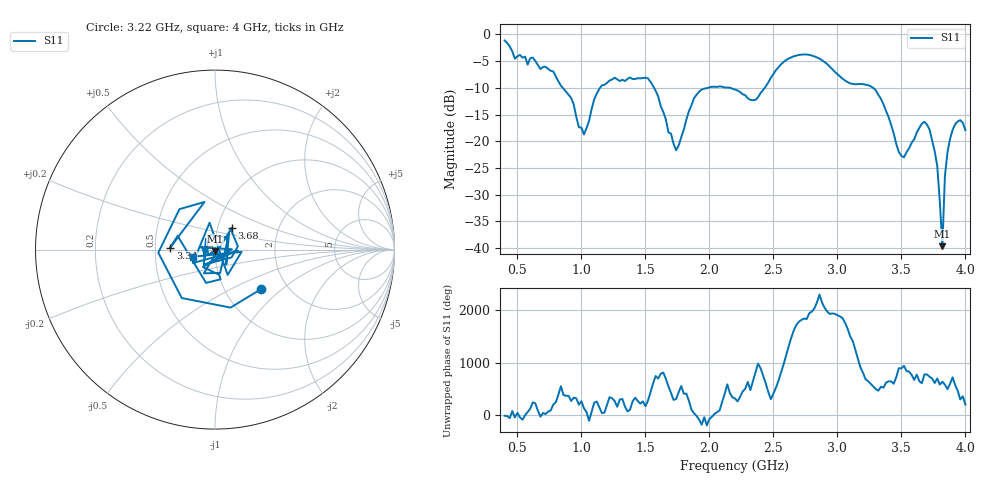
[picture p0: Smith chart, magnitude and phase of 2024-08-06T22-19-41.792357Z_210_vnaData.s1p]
!Created with skrf (http://scikit-rf.org).
# Hz S RI R 50.0
!freq ReS11 ImS11
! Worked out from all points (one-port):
!   181 points, 400 MHz to 4 GHz, reference 50 ohm
!   lowest |S11| = -39.7 dB at 3.82 GHz (marker M1), VSWR 1.02, Z = 50 - j1.04 ohm
!   |S11| at or under -10 dB: 854.4 MHz to 1.146 GHz (291.4 MHz wide, 29.1 % of centre); 1.568 GHz to 1.988 GHz (420.6 MHz wide, 23.7 % of centre); 3.28 GHz to end of sweep (the widest 3 of 4)
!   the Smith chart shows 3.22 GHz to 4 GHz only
!   S11 on the Smith chart (normalised r, x): 3.22 GHz: 1.48, -0.73; 3.34 GHz: 0.60, +0.01; 3.68 GHz: 1.17, +0.29; 4 GHz: 0.78, -0.06
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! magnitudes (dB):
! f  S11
! 400 MHz  -1.1
! 480 MHz  -4.5
! 620 MHz  -4.3
! 860 MHz  -10.2
! 1.02 GHz  -18.7
! 1.14 GHz  -10.2
! 1.3 GHz  -8.7
! 1.52 GHz  -8.2
! 1.74 GHz  -21.7
! 1.76 GHz  -20.8
! 1.92 GHz  -10.7
! 2.2 GHz  -10.3
! 2.36 GHz  -12.3
! 2.66 GHz  -4.1
! 2.86 GHz  -4.5
! 3.1 GHz  -9.2
! 3.22 GHz  -9.4
! 3.34 GHz  -12.1
! 3.48 GHz  -22.0
! 3.56 GHz  -21.3
! 3.68 GHz  -16.4
! 3.72 GHz  -17.8
! 3.78 GHz  -24.6
! 3.82 GHz  -39.7
! 3.84 GHz  -26.5
! 3.88 GHz  -19.6
! 3.94 GHz  -16.3
! 4 GHz  -17.9
